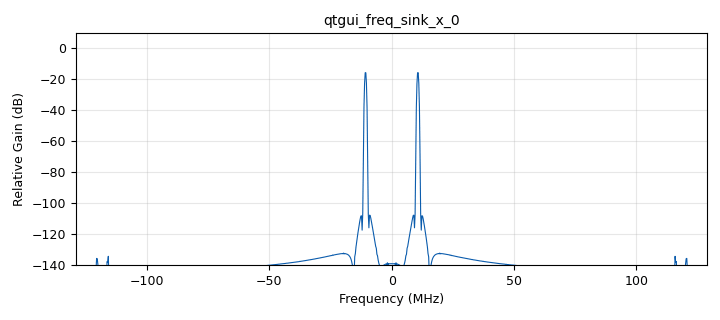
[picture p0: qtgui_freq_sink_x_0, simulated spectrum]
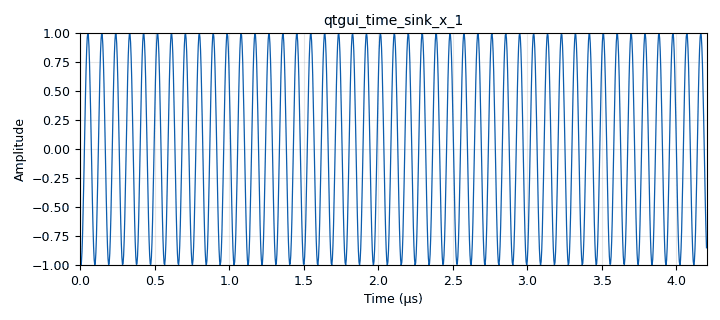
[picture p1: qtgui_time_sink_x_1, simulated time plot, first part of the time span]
options:
  parameters:
    generate_options: qt_gui
    id: simulador1
    output_language: python
    title: Not titled yet
  states: {}

blocks:
- name: Bm
  id: variable
  parameters:
    value: 80e3
  states: {}
- name: Fmax
  id: variable
  parameters:
    value: fc+Bm/2
  states: {}
- name: Kf
  id: variable
  parameters:
    value: '200'
  states: {}
- name: N
  id: variable
  parameters:
    value: '2048'
  states: {}
- name: fc
  id: variable
  parameters:
    value: 10.7e6
  states: {}
- name: fresol
  id: variable
  parameters:
    value: samp_rate/N
  states: {}
- name: samp_rate
  id: variable
  parameters:
    value: int(Fmax*8*3)
  states: {}
- name: samp_rate_voz
  id: variable
  parameters:
    value: '44100'
  states: {}
- name: analog_const_source_x_0
  id: analog_const_source_x
  parameters:
    const: fc
    type: float
  states: {}
- name: analog_sig_source_x_0
  id: analog_sig_source_x
  parameters:
    amp: '1'
    freq: '10'
    offset: '0'
    phase: '0'
    samp_rate: samp_rate
    type: float
    waveform: analog.GR_COS_WAVE
  states: {}
- name: audio_sink_0
  id: audio_sink
  parameters:
    samp_rate: samp_rate_voz
  states: {state: disabled}
- name: blocks_add_const_vxx_0
  id: blocks_add_const_vxx
  parameters:
    const: '0'
    type: float
  states: {state: disabled}
- name: blocks_add_xx_0
  id: blocks_add_xx
  parameters:
    type: float
  states: {}
- name: blocks_multiply_const_vxx_0
  id: blocks_multiply_const_vxx
  parameters:
    const: Kf
    type: float
  states: {}
- name: blocks_multiply_xx_0
  id: blocks_multiply_xx
  parameters:
    type: float
  states: {state: disabled}
- name: blocks_vco_f_0
  id: blocks_vco_f
  parameters:
    amplitude: '1'
    samp_rate: samp_rate
    sensitivity: 2*3.1416
  states: {}
- name: blocks_wavfile_source_0
  id: blocks_wavfile_source
  parameters:
    file: C:\Users\UIS\Downloads\voz_grabada.wav
    repeat: 'True'
  states: {state: disabled}
- name: epy_block_0
  id: epy_block
  parameters:
    _source_code: |
      import numpy as np
      from gnuradio import gr

      class poly_nl_harmonics(gr.sync_block):
          """
          No linealidad polinómica para generar armónicos 2*fc y 3*fc
          a partir de una senoidal de entrada en fc.

          y = out_gain * (a1*x + a2*x^2 + a3*x^3)  (con opción de quitar DC y clipping)

          Parámetros (con valores por defecto pensados para ver 2*fc y 3*fc):
            - a1 = 0.20   -> nivel del fundamental (fc)
            - a2 = 0.90   -> genera 2*fc (y DC)
            - a3 = 0.60   -> genera 3*fc (y refuerza fc)
            - out_gain = 0.8
            - remove_dc = True   -> elimina el DC que aparece por x^2
            - clip = False       -> clipping desactivado por defecto
            - clip_min = -1.0
            - clip_max =  1.0

          Recomendación: usa amplitud de la senoidal de entrada <= 0.7 para evitar saturaciones.
          """

          def __init__(self, a1=0.20, a2=0.90, a3=0.60, out_gain=0.8,
                       remove_dc=True, clip=False, clip_min=-1.0, clip_max=1.0):
              gr.sync_block.__init__(
                  self,
                  name="poly_nl_harmonics",
                  in_sig=[np.float32],
                  out_sig=[np.float32],
              )
              self.a1 = float(a1)
              self.a2 = float(a2)
              self.a3 = float(a3)
              self.out_gain = float(out_gain)
              self.remove_dc = bool(remove_dc)
              self.clip = bool(clip)
              self.clip_min = float(clip_min)
              self.clip_max = float(clip_max)

          def work(self, input_items, output_items):
              x = input_items[0].astype(np.float64)
              y = self.out_gain * (self.a1 * x + self.a2 * (x**2) + self.a3 * (x**3))

              if self.remove_dc:
                  y -= np.mean(y)

              if self.clip:
                  y = np.clip(y, self.clip_min, self.clip_max)

              output_items[0][:] = y.astype(np.float32)
              return len(output_items[0])

          # Setters opcionales por si los conectas a variables en GRC
          def set_a1(self, v): self.a1 = float(v)
          def set_a2(self, v): self.a2 = float(v)
          def set_a3(self, v): self.a3 = float(v)
          def set_out_gain(self, v): self.out_gain = float(v)
          def set_remove_dc(self, v): self.remove_dc = bool(v)
          def set_clip(self, v): self.clip = bool(v)
          def set_clip_min(self, v): self.clip_min = float(v)
          def set_clip_max(self, v): self.clip_max = float(v)
    a1: '0.2'
    a2: '0.9'
    a3: '0.6'
    clip: 'False'
    clip_max: '1.0'
    clip_min: '-1.0'
    out_gain: '0.8'
    remove_dc: 'True'
  states: {state: disabled}
- name: qtgui_freq_sink_x_0
  id: qtgui_freq_sink_x
  parameters:
    bw: samp_rate
    fc: '0'
    fftsize: '1024'
    type: float
  states: {}
- name: qtgui_time_sink_x_0
  id: qtgui_time_sink_x
  parameters:
    size: 1024*20
    srate: samp_rate
    type: float
  states: {state: disabled}
- name: qtgui_time_sink_x_1
  id: qtgui_time_sink_x
  parameters:
    size: '2048'
    srate: samp_rate
    type: float
  states: {}
- name: rational_resampler_xxx_0
  id: rational_resampler_xxx
  parameters:
    decim: samp_rate_voz
    interp: samp_rate
    type: fff
  states: {state: disabled}

connections:
- [analog_const_source_x_0, '0', blocks_add_xx_0, '1']
- [analog_sig_source_x_0, '0', blocks_multiply_const_vxx_0, '0']
- [blocks_add_const_vxx_0, '0', blocks_multiply_xx_0, '1']
- [blocks_add_xx_0, '0', blocks_vco_f_0, '0']
- [blocks_multiply_const_vxx_0, '0', blocks_add_xx_0, '0']
- [blocks_multiply_xx_0, '0', epy_block_0, '0']
- [blocks_multiply_xx_0, '0', qtgui_time_sink_x_0, '0']
- [blocks_vco_f_0, '0', qtgui_freq_sink_x_0, '0']
- [blocks_vco_f_0, '0', qtgui_time_sink_x_1, '0']
- [blocks_wavfile_source_0, '0', audio_sink_0, '0']
- [blocks_wavfile_source_0, '0', rational_resampler_xxx_0, '0']
- [rational_resampler_xxx_0, '0', blocks_add_const_vxx_0, '0']

metadata:
  file_format: 1
  grc_version: 3.10.12.0
